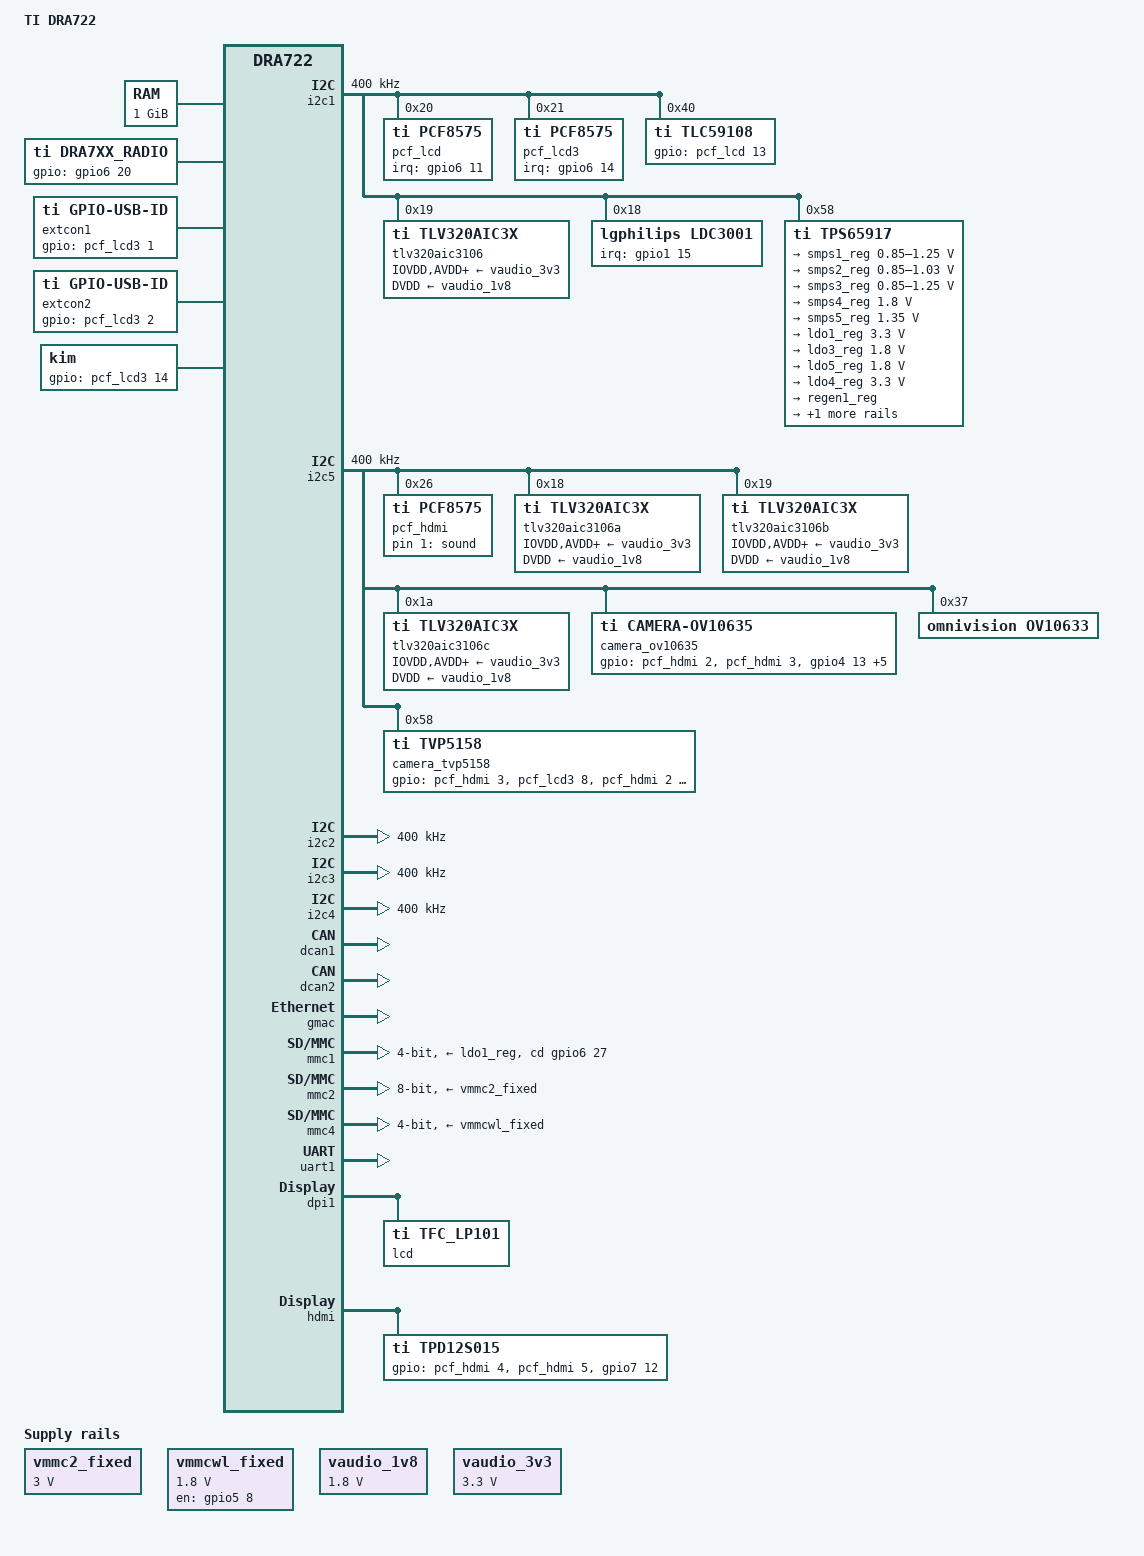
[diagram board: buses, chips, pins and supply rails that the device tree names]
/*
 * Copyright (C) 2014 Texas Instruments Incorporated - http://www.ti.com/
 *
 * This program is free software; you can redistribute it and/or modify
 * it under the terms of the GNU General Public License version 2 as
 * published by the Free Software Foundation.
 */
/dts-v1/;

/*
 * Following are the carveout addresses and the sizes for ION. SMC is not reserved for now
 * C0000000 - SDRAM+1G
 * BFD00000 - SMC (3MB)
 * BA300000 - ION (90MB)
 * B4300000 - TILER SECURE (81 MB)
 * B3400000 - TILER NONSECURE (15 MB)
*/

/memreserve/ 0xba300000 0x5a00000;
/memreserve/ 0xb5200000 0x5100000;
/memreserve/ 0xb4300000 0xf00000;

/*
 * Memory is reserved for ipu1 for rearview camera
 */

/memreserve/ 0x8E000000 0x1000000;
/memreserve/ 0xA0000000 0x1800000;

/include/ "dra72x.dtsi"

/ {
	model = "TI DRA722";
	compatible = "ti,dra72-evm", "ti,dra722", "ti,dra72", "ti,dra7";
	cpus {
		cpu@0 {
			cpu0-supply = <&abb_mpu>;
			operating-points = <
				/* kHz    uV */
				/* The OPP_HIGH Only for DVFS enabled Samples */
				/* OPP_OD need to be enabled only for Refreshed poly fixed Samples */
				/* dieID reg: 0x4AE0C20C FT_Rev bits[15:8] should be 5 or more to enable OPP_OD */
				1000000 1090000
				1176000 1210000
				1500000 1280000
				>;
			clocks = <&dpll_mpu_ck>;
			clock-names = "cpu";
			/*
			 * Transition latency reference from omap5.
			 * TBD: to be instrumented and use the actual
			 * value at later point of time
			 */
			clock-latency = <300000>;
			timer {
				compatible = "arm,armv7-timer";
				/*
				 * PPI secure/nonsecure IRQ,
				 * active low level-sensitive
				 */
				interrupts = <1 13 0x308>,
					   <1 14 0x308>;
				clock-frequency = <6144000>;
			};

		};
	};


	memory {
		device_type = "memory";
		reg = <0x80000000 0x40000000>; /* 1024 MB */
	};

	vmmc2_fixed: fixedregulator-mmc2 {
		compatible = "regulator-fixed";
		regulator-name = "vmmc2_fixed";
		regulator-min-microvolt = <3000000>;
		regulator-max-microvolt = <3000000>;
	};

	ion_config {
		compatible = "ti,ion-omap";
		ti,omap_ion_heap_secure_input_base = <0xba300000>;
		ti,omap_ion_heap_tiler_base = <0xb5200000>;
		ti,omap_ion_heap_nonsecure_tiler_base = <0xb4300000>;
		/*90 MB*/
		ti,omap_ion_heap_secure_input_size = <0x5A00000>;
		/*81MB*/
		ti,omap_ion_heap_tiler_size = <0x5100000>;
		/*15 MB*/
		ti,omap_ion_heap_nonsecure_tiler_size = <0xF00000>;
	};

	display_layout {
		compatible = "ti, omap4-dsscomp";
		ti,num_displays = <3>;
		ti,default_display = "lcd";
	};

	vmmcwl_fixed: fixedregulator-mmcwl {
		compatible = "regulator-fixed";
		regulator-name = "vmmcwl_fixed";
		regulator-min-microvolt = <1800000>;
		regulator-max-microvolt = <1800000>;
		gpio = <&gpio5 8 0>;	/* gpio5_8 */
		startup-delay-us = <70000>;
		enable-active-high;
	};

	wlcore {
		compatible = "wlcore";
		gpio = <135>;
	};

	vaudio_1v8: fixedregulator-vaudio-dig {
		compatible = "regulator-fixed";
		regulator-name = "vdac_fixed";
		regulator-min-microvolt = <1800000>;
		regulator-max-microvolt = <1800000>;
		regulator-boot-on;
	};

	vaudio_3v3: fixedregulator-vaudio-anlg {
		compatible = "regulator-fixed";
		regulator-name = "vdac_fixed";
		regulator-min-microvolt = <3300000>;
		regulator-max-microvolt = <3300000>;
		regulator-boot-on;
	};

	sound {
		compatible = "ti,dra7-evm-sound";
		ti,model = "dra7evm";
		ti,always-on;

		gpios = <&pcf_hdmi 1 0>;

		/* Audio routing */
		ti,audio-routing =
			"LINE1L", "Line In",
			"LINE1R", "Line In",
			"MIC3L", "Mic Bias 2V",
			"MIC3R", "Mic Bias 2V",
			"Mic Bias 2V", "Main Mic",
			"Headphone", "HPLOUT",
			"Headphone", "HPROUT",
			"Line Out", "LLOUT",
			"Line Out", "RLOUT",
			"J3A LINE1L", "JAMR3 Stereo Aux In",
			"J3A LINE1R", "JAMR3 Stereo Aux In",
			"J3B LINE1L", "JAMR3 Mono Mic 1",
			"J3B LINE1R", "JAMR3 Mono Mic 2",
			"JAMR3 Line Out 1", "J3A LLOUT",
			"JAMR3 Line Out 1", "J3A RLOUT",
			"JAMR3 Line Out 2", "J3B LLOUT",
			"JAMR3 Line Out 2", "J3B RLOUT",
			"JAMR3 Line Out 3", "J3C LLOUT",
			"JAMR3 Line Out 3", "J3C RLOUT";

		/* Media DAI link */
		ti,media-cpu = <&mcasp3>;
		ti,media-codec = <&tlv320aic3106>;
		ti,media-mclk-freq = <11289600>;
		ti,media-slots = <2>;

		/* Multichannel DAI link */
		ti,multichannel-cpu = <&mcasp6>;
		ti,multichannel-codec-a = <&tlv320aic3106a>;
		ti,multichannel-codec-b = <&tlv320aic3106b>;
		ti,multichannel-codec-c = <&tlv320aic3106c>;
		ti,multichannel-slots = <8>;
		ti,multichannel-mclk-freq = <11289600>;
		ti,multichannel-shared;

		/* Bluetooth */
		ti,bt-cpu = <&mcasp7>;
		ti,bt-bclk-freq = <512000>;
	};

	radio {
		compatible = "ti,dra7xx_radio";
		gpios = <&gpio6 20 0>;

		radio_helper1 {
			compatible = "ti,dra7xx_radio_subdev";
			ti,hwmods = "mcasp2";
			status = "okay";
		};
	};

	sound_hdmi {
		compatible = "ti,omap-hdmi-tpd12s015-audio";
		ti,model = "OMAP5HDMI";
		ti,hdmi_audio = <&hdmi>;
		ti,level_shifter = <&tpd12s015>;
	};

	extcon1: gpio_usbvid_extcon1 {
		compatible = "ti,gpio-usb-id";
		gpios = <&pcf_lcd3 1 0>;
		interrupt_mode = <0>;
		dr_mode = "peripheral";
	};

	extcon2: gpio_usbvid_extcon2 {
		compatible = "ti,gpio-usb-id";
		gpios = <&pcf_lcd3 2 0>;
		interrupt_mode = <0>;
		dr_mode = "host";
	};

	kim {
		compatible = "kim";
		nshutdown_gpio = <132>;
		dev_name = "/dev/ttyO2";
		flow_cntrl = <1>;
		baud_rate = <3686400>;
		gpios = <&pcf_lcd3 14 0>; /* pcf8575@21 P16 */
	};

	btwilink {
		compatible = "btwilink";
	};

};


&dra7_pmx_core {
        pinctrl-names = "default";
        pinctrl-0 = <
		&atl_pins
		&mcasp3_pins
		&mcasp6_pins
		&mcasp7_pins
		&vout1_pins
		&usb_pins
		&wl_pins
		&wlirq_pins
		&bt_uart3_pins
		&radio_pins
	>;

	i2c1_pins: pinmux_i2c1_pins {
		pinctrl-single,pins = <
			0x400 0x60000	/* i2c1_sda */
			0x404 0x60000	/* i2c1_scl */
		>;
	};

	i2c2_pins: pinmux_i2c2_pins {
                pinctrl-single,pins = <
			0x408	0x60001	/* hdmi_sda INPUT | MODE1 */
			0x40C	0x60001	/* hdmi_scl INPUT | MODE1 */
                >;
	};

	i2c3_pins: pinmux_i2c3_pins {
		pinctrl-single,pins = <
			0x410	0x60000	/* i2c3_sda INPUT | MODE0 */
			0x414	0x60000	/* i2c3_scl INPUT | MODE0 */
		>;
	};

	i2c5_pins: pinmux_i2c5_pins {
		pinctrl-single,pins = <
			0x2b4	0x6000a	/* i2c5_sda INPUT | MODE10 */
			0x2b8	0x6000a	/* i2c5_scl INPUT | MODE10 */
		>;
	};

	usb_pins: pinmux_usb_pins {
                pinctrl-single,pins = <
			0x280	0xc0000	/* DRV1_VBUS SLEW | PULLDEN | MODE14 */
			0x284	0xc0000	/* DRV2_VBUS SLEW | PULLDEN | MODE14 */
                >;
        };

	wl_pins: pinmux_wl_pins {
		pinctrl-single,pins = <
			0x3e8 0x60003   /* MMC4_CLK: INPUTENABLE | PULLUP | MODE3 */
			0x3ec 0x60003   /* MMC4_CMD: INPUTENABLE | PULLUP | MODE3 */
			0x3f0 0x60003   /* MMC4_DAT0: INPUTENABLE | PULLUP | MODE3 */
			0x3f4 0x60003   /* MMC4_DAT1: INPUTENABLE | PULLUP | MODE3 */
			0x3f8 0x60003   /* MMC4_DAT2: INPUTENABLE | PULLUP | MODE3 */
			0x3fc 0x60003   /* MMC4_DAT3: INPUTENABLE | PULLUP | MODE3 */
			0x2cc 0x2000E   /* WLAN_EN: OUTPUT | MODE14 */
		>;
	};

	wlirq_pins: pinmux_wlirq_pins {
		pinctrl-single,pins = <
			0x2c8 0x106000E /* WLAN_IRQ: INPUT | WAKEUP_ENABLE | MODE 14 */
		>;
	};

	bt_uart3_pins: pinmux_bt_uart3_pins {
		pinctrl-single,pins = <
			0x3c0 0x60001       /* uart3_rx.spi2_sclk:  INPUT | PULLUP | MODE 1 */
			0x3c4 0x1           /* uart3_tx.spi2.d1:    OUTPUT |  MODE 1 */
			0x3c8 0x40001       /* uart3_rts.spi2.c0:   OUTPUT | PULLUP | MODE 1 */
			0x3cc 0x60001       /* uart3_cts.spi2.d0:   INPUT | MODE 1 */
			0x2bc 0xE           /* BT_EN.gp5_4:         OUTPUT | MODE 14 */
		>;
	};

	dcan1_pins: pinmux_dcan1_pins {
		pinctrl-single,pins = <
			0x3d0	0x00000000	/* DCAN1_TX: MODE0 */
			0x418	0x00000001	/* WAKEUP0: MODE1 */
		>;
	};

	dcan2_pins: pinmux_dcan2_pins {
		pinctrl-single,pins = <
			0x288	0x00000002	/* DCAN2_TX: MODE2 */
			0x28C	0x00060002	/* DCAN2_RX: MODE2 | INPUTENABLE | PULLUP */
		>;
	};

	radio_pins: pinmux_radio_pins {
		pinctrl-single,pins = <
			0x02F4   0x40000        /* MCASP2_ACLKX: MODE0 */
			0x02F8   0xc0000        /* MCASP2_AFSX: MODE0 */
			0x0304   0x40000        /* MCASP2_AXR0: MODE0 */
			0x0308   0x40000        /* MCASP2_AXR1: MODE0 */
			0x030C   0xc0000        /* MCASP2_AXR2: MODE0 */
			0x0310   0xc0000        /* MCASP2_AXR3: MODE0 */
			0x0314   0x40000        /* MCASP2_AXR4: MODE0 */
			0x0318   0x40000        /* MCASP2_AXR5: MODE0 */
			0x031c   0x40000        /* MCASP2_AXR6: MODE0 */
			0x0320   0x40000        /* MCASP2_AXR7: MODE0 */
			0x0334   0x70004        /* I2C4_SDA: MODE4 */
			0x0338   0x70004        /* I2C4_SCL: MODE4 */
			0x02A0   0x5000e        /* GPIO6_20: MODE14 */
		>;
	};

	vout1_pins: pinmux_vout1_pins {
		pinctrl-single,pins = <
			0x1C8	0x0	/* vout1_clk OUTPUT | MODE0 */
			0x1CC	0x0	/* vout1_de OUTPUT | MODE0 */
			0x1D0	0x0	/* vout1_fld OUTPUT | MODE0 */
			0x1D4	0x0	/* vout1_hsync OUTPUT | MODE0 */
			0x1D8	0x0	/* vout1_vsync OUTPUT | MODE0 */
			0x1DC	0x0	/* vout1_d0 OUTPUT | MODE0 */
			0x1E0	0x0	/* vout1_d1 OUTPUT | MODE0 */
			0x1E4	0x0	/* vout1_d2 OUTPUT | MODE0 */
			0x1E8	0x0	/* vout1_d3 OUTPUT | MODE0 */
			0x1EC	0x0	/* vout1_d4 OUTPUT | MODE0 */
			0x1F0	0x0	/* vout1_d5 OUTPUT | MODE0 */
			0x1F4	0x0	/* vout1_d6 OUTPUT | MODE0 */
			0x1F8	0x0	/* vout1_d7 OUTPUT | MODE0 */
			0x1FC	0x0	/* vout1_d8 OUTPUT | MODE0 */
			0x200	0x0	/* vout1_d9 OUTPUT | MODE0 */
			0x204	0x0	/* vout1_d10 OUTPUT | MODE0 */
			0x208	0x0	/* vout1_d11 OUTPUT | MODE0 */
			0x20C	0x0	/* vout1_d12 OUTPUT | MODE0 */
			0x210	0x0	/* vout1_d13 OUTPUT | MODE0 */
			0x214	0x0	/* vout1_d14 OUTPUT | MODE0 */
			0x218	0x0	/* vout1_d15 OUTPUT | MODE0 */
			0x21C	0x0	/* vout1_d16 OUTPUT | MODE0 */
			0x220	0x0	/* vout1_d17 OUTPUT | MODE0 */
			0x224	0x0	/* vout1_d18 OUTPUT | MODE0 */
			0x228	0x0	/* vout1_d19 OUTPUT | MODE0 */
			0x22C	0x0	/* vout1_d20 OUTPUT | MODE0 */
			0x230	0x0	/* vout1_d21 OUTPUT | MODE0 */
			0x234	0x0	/* vout1_d22 OUTPUT | MODE0 */
			0x238	0x0	/* vout1_d23 OUTPUT | MODE0 */
		>;
	};

	atl_pins: pinmux_atl_pins {
		pinctrl-single,pins = <
			0x298 0x00000005	/* xref_clk1.atl_clk1 OUTPUT | MODE5 */
			0x29c 0x00000005	/* xref_clk2.atl_clk2 OUTPUT | MODE5 */
		>;
	};

	vin1a_pins: pinmux_vin1a_pins {
		pinctrl-single,pins = <
			0x0DC	0x00040000 /* vin1a_clk0 OUTPUT | MODE0 */
			0x0E4	0x00040000 /* vin1a_de0 OUTPUT | MODE0 */
			0x0E8	0x00040000 /* vin1a_fld0 OUTPUT | MODE0 */
			0x0EC	0x00040000 /* vin1a_hsync0	OUTPUT | MODE0 */
			0x0F0	0x00040000 /* vin1a_vsync0 OUTPUT | MODE0 */
			0x0F4	0x00040000 /* vin1a_d0	OUTPUT | MODE0 */
			0x0F8	0x00040000 /* vin1a_d1	OUTPUT | MODE0 */
			0x0FC	0x00040000 /* vin1a_d2	OUTPUT | MODE0 */
			0x100	0x00040000 /* vin1a_d3 	OUTPUT | MODE0 */
			0x104	0x00040000 /* vin1a_d4 	OUTPUT | MODE0 */
			0x108	0x00040000 /* vin1a_d5	OUTPUT | MODE0 */
			0x10C	0x00040000 /* vin1a_d6	OUTPUT | MODE0 */
			0x110	0x00040000 /* vin1a_d7	OUTPUT | MODE0 */
			0x114	0x00040000 /* vin1a_d8	OUTPUT | MODE0 */
			0x118	0x00040000 /* vin1a_d9	OUTPUT | MODE0 */
			0x11C	0x00040000 /* vin1a_d10	OUTPUT | MODE0 */
			0x120	0x00040000 /* vin1a_d11	OUTPUT | MODE0 */
			0x124	0x00040000 /* vin1a_d12	OUTPUT | MODE0 */
			0x128	0x00040000 /* vin1a_d13	OUTPUT | MODE0 */
			0x12C	0x00040000 /* vin1a_d14	OUTPUT | MODE0 */
			0x130	0x00040000 /* vin1a_d15	OUTPUT | MODE0 */
			0x134	0x00040000 /* vin1a_d16	OUTPUT | MODE0 */
			0x138	0x00040000 /* vin1a_d17	OUTPUT | MODE0 */
			0x13C	0x00040000 /* vin1a_d18	OUTPUT | MODE0 */
			0x140	0x00040000 /* vin1a_d19	OUTPUT | MODE0 */
			0x144	0x00040000 /* vin1a_d20	OUTPUT | MODE0 */
			0x148	0x00040000 /* vin1a_d21	OUTPUT | MODE0 */
			0x14C	0x00040000 /* vin1a_d22	OUTPUT | MODE0 */
			0x150	0x00040000 /* vin1a_d23	OUTPUT | MODE0 */
		>;
	};

	vin2a_pins: pinmux_vin2a_pins {
		pinctrl-single,pins = <
			0x154	0x00040000 /* vin2a_clk0 OUTPUT | MODE0 */
			0x058	0x00040000 /* vin2a_de0 OUTPUT | MODE0 */
			0x05C	0x00040000 /* vin2a_fld0 OUTPUT | MODE0 */
			0x160	0x00040000 /* vin2a_hsync0 OUTPUT | MODE0 */
			0x164	0x00040000 /* vin2a_vsync0 OUTPUT | MODE0 */
			0x168	0x00040000 /* vin2a_d0	OUTPUT | MODE0 */
			0x16C	0x00040000 /* vin2a_d1	OUTPUT | MODE0 */
			0x170	0x00040000 /* vin2a_d2	OUTPUT | MODE0 */
			0x174	0x00040000 /* vin2a_d3	OUTPUT | MODE0 */
			0x178	0x00040000 /* vin2a_d4	OUTPUT | MODE0 */
			0x17C	0x00040000 /* vin2a_d5	OUTPUT | MODE0 */
			0x180	0x00040000 /* vin2a_d6	OUTPUT | MODE0 */
			0x184	0x00040000 /* vin2a_d7	OUTPUT | MODE0 */
			0x188	0x00040000 /* vin2a_d8	OUTPUT | MODE0 */
			0x18C	0x00040000 /* vin2a_d9	OUTPUT | MODE0 */
			0x190	0x00040000 /* vin2a_d10	OUTPUT | MODE0 */
			0x194	0x00040000 /* vin2a_d11	OUTPUT | MODE0 */
			0x198	0x00040000 /* vin2a_d12	OUTPUT | MODE0 */
			0x19C	0x00040000 /* vin2a_d13	OUTPUT | MODE0 */
			0x1A0	0x00040000 /* vin2a_d14	OUTPUT | MODE0 */
			0x1A4	0x00040000 /* vin2a_d15	OUTPUT | MODE0 */
			0x1A8	0x00040000 /* vin2a_d16	OUTPUT | MODE0 */
			0x1AC	0x00040000 /* vin2a_d17	OUTPUT | MODE0 */
			0x1B0	0x00040000 /* vin2a_d18	OUTPUT | MODE0 */
			0x1B4	0x00040000 /* vin2a_d19	OUTPUT | MODE0 */
			0x1B8	0x00040000 /* vin2a_d20	OUTPUT | MODE0 */
			0x1BC	0x00040000 /* vin2a_d21	OUTPUT | MODE0 */
			0x1C0	0x00040000 /* vin2a_d22	OUTPUT | MODE0 */
			0x1C4	0x00040000 /* vin2a_d23	OUTPUT | MODE0 */
		>;
	};

	cpsw_default_pins: pinmux_cpsw_default_pins {
		pinctrl-single,pins = <
			/* Slave 1 */
			0x250	0x0 /* rgmii1_tclk PIN_OUTPUT | MUX_MODE0 */
			0x254	0x0 /* rgmii1_tctl PIN_OUTPUT | MUX_MODE0 */
			0x258	0x0 /* rgmii1_td3 PIN_OUTPUT | MUX_MODE0 */
			0x25c	0x0 /* rgmii1_td2 PIN_OUTPUT | MUX_MODE0 */
			0x260	0x0 /* rgmii1_td1 PIN_OUTPUT | MUX_MODE0 */
			0x264	0x0 /* rgmii1_td0 PIN_OUTPUT | MUX_MODE0 */
			0x268	0x00040000 /* rgmii1_rclk PIN_INPUT | MUX_MODE0 */
			0x26c	0x00040000 /* rgmii1_rctl PIN_INPUT | MUX_MODE0 */
			0x270	0x00040000 /* rgmii1_rd3 PIN_INPUT | MUX_MODE0 */
			0x274	0x00040000 /* rgmii1_rd2 PIN_INPUT | MUX_MODE0 */
			0x278	0x00040000 /* rgmii1_rd1 PIN_INPUT | MUX_MODE0 */
			0x27c	0x00040000 /* rgmii1_rd0 PIN_INPUT | MUX_MODE0 */
		>;
	};

	davinci_mdio_default_pins: pinmux_davinci_mdio_default_pins {
		pinctrl-single,pins = <
			0x23C	0x30000 /* mdio_data PIN_OUTPUT_PULLUP | MUX_MODE0 */
			0x240	0x70000 /* mdio_clk PIN_INPUT_PULLUP | MUX_MODE0 */
		>;
	};

	mcasp3_pins: pinmux_mcasp3_pins {
		pinctrl-single,pins = <
			0x324 0x00000180	/* mcasp3_aclkx.mcasp3_aclkx OUTPUT | MODE0 */
			0x328 0x00000180	/* mcasp3_fsx.mcasp3_fsx OUTPUT | MODE0 */
			0x32c 0x00000180	/* mcasp3_axr0.mcasp3_axr0 OUTPUT | MODE0 */
			0x330 0x00040160	/* mcasp3_axr1.mcasp3_axr1 INPUT | MODE0 */
		>;
	};

	mcasp6_pins: pinmux_mcasp6_pins {
		pinctrl-single,pins = <
			0x2d4 0x000001a1	/* mcasp1_axr8.mcasp6_axr0 OUTPUT | MODE1 */
			0x2d8 0x000401a1	/* mcasp1_axr9.mcasp6_axr1 INPUT | MODE 1 */
			0x2dc 0x000001a1	/* mcasp1_axr10.mcasp6_clkx OUTPUT | MODE1 */
			0x2e0 0x000001a1	/* mcasp1_axr11.mcasp6_fsx OUTPUT | MODE1 */
		>;
	};

	mcasp7_pins: pinmux_mcasp7_pins {
		pinctrl-single,pins = <
			0x2e4 0x000401a1	/* mcasp1_axr12.mcasp7_axr0 INPUT | MODE 1 */
			0x2e8 0x000001a1	/* mcasp1_axr13.mcasp7_axr1 OUTPUT | MODE 1 */
			0x2ec 0x000401a1	/* mcasp1_axr14.mcasp7_clkx INPUT | MODE1 */
			0x2f0 0x000401a1	/* mcasp1_axr15.mcasp7_fsx INPUT | MODE1 */
		>;
	};

	mmc2_pins: pinmux_mmc2_pins {
		pinctrl-single,pins = <
			0x08c 0x000601a1	/* gpmc_a19.mmc2_dat4 INPUT | MODE1 */
			0x090 0x000601a1	/* gpmc_a20.mmc2_dat5 INPUT | MODE1 */
			0x094 0x000601a1	/* gpmc_a21.mmc2_dat6 INPUT | MODE1 */
			0x098 0x000601a1	/* gpmc_a22.mmc2_dat7 INPUT | MODE1 */
			0x09c 0x000601a1	/* gpmc_a23.mmc2_clk INPUT | MODE1 */
			0x0a0 0x000601a1	/* gpmc_a24.mmc2_dat0 INPUT | MODE1 */
			0x0a4 0x000601a1	/* gpmc_a25.mmc2_dat1 INPUT | MODE1 */
			0x0a8 0x000601a1	/* gpmc_a26.mmc2_dat2 INPUT | MODE1 */
			0x0ac 0x000601a1	/* gpmc_a27.mmc2_dat3 INPUT | MODE1 */
			0x0b0 0x000601a1	/* gpmc_cs1.mmc2_cmd INPUT | MODE1 */
		>;
	};
};

&i2c1 {
	status = "okay";
	pinctrl-names = "default";
	pinctrl-0 = <&i2c1_pins>;
	clock-frequency = <400000>;

	pcf_lcd: pcf8575@20 {
		compatible = "ti,pcf8575";
		reg = <0x20>;
		gpio-controller;
		#gpio-cells = <2>;
		/* HACK: Using n_latch in pcf8575 driver to "drive P10/11" to not hold ETH0/1 in reset */
		n_latch = <0xfcfe>;
		interrupt-parent = <&gpio6>;
		interrupts = <11 2>;
		interrupt-controller;
		#interrupt-cells = <2>;
	};

	pcf_lcd3: pcf8575@21 {
		compatible = "ti,pcf8575";
		reg = <0x21>;
		gpio-controller;
		#gpio-cells = <2>;
		n_latch = <0x1418>;
		interrupt-parent = <&gpio6>;
		interrupts = <14 2>;
		interrupt-controller;
		#interrupt-cells = <2>;
	};

	/* TLC chip for LCD panel power and backlight */
	tlc59108: tlc59108@40 {
		compatible = "ti,tlc59108";
		reg = <0x40>;
		gpios = <&pcf_lcd 13 0>; /* P15, CON_LCD_PWR_DN */
	};

	tlv320aic3106: tlv320aic3106@19 {
		compatible = "ti,tlv320aic3x";
		reg = <0x19>;
		adc-settle-ms = <40>;
		IOVDD-supply = <&vaudio_3v3>;
		DVDD-supply = <&vaudio_1v8>;
		AVDD-supply = <&vaudio_3v3>;
		DRVDD-supply = <&vaudio_3v3>;
	};

 	ldc3001:ldc3001@18 {
 		reg = <0x18>;
		interrupt-parent = <&gpio1>;
		interrupts = <15 1>;
 	};

	tps65917: tps65917@58 {
		compatible = "ti,tps65917";
		reg = <0x58>;
		interrupts = <0 7 0x0>; /* IRQ_SYS_1N */
		interrupt-parent = <&gic>;
		interrupt-controller;
		#interrupt-cells = <2>;

		tps65917_pmic {
			compatible = "ti,tps65917-pmic";

			regulators {
				smps1_reg: smps1 {
					/* VDD_MPU */
					regulator-name = "smps1";
					regulator-min-microvolt = <850000>;
					regulator-max-microvolt = <1250000>;
					regulator-always-on;
					regulator-boot-on;
				};

				smps2_reg: smps2 {
					/* VDD_CORE */
					regulator-name = "smps2";
					regulator-min-microvolt = <850000>;
					regulator-max-microvolt = <1030000>;
					regulator-always-on;
					regulator-boot-on;
				};

				smps3_reg: smps3 {
					/* VDD_GPU IVA DSPEVE */
					regulator-name = "smps3";
					regulator-min-microvolt = <850000>;
					regulator-max-microvolt = <1250000>;
					regulator-always-on;
					regulator-boot-on;
				};

				smps4_reg: smps4 {
					/* VDDS1V8 */
					regulator-name = "smps4";
					regulator-min-microvolt = <1800000>;
					regulator-max-microvolt = <1800000>;
					regulator-always-on;
					regulator-boot-on;
				};

				smps5_reg: smps5 {
					/* VDD_DDR */
						regulator-name = "smps5";
						regulator-min-microvolt = <1350000>;
						regulator-max-microvolt = <1350000>;
						regulator-always-on;
						regulator-boot-on;
				};

				ldo1_reg: ldo1 {
					/* LDO1_OUT --> SDIO  */
					regulator-name = "ldo1";
					regulator-min-microvolt = <3300000>;
					regulator-max-microvolt = <3300000>;
					regulator-boot-on;
				};

				ldo3_reg: ldo3 {
					/* VDDA_1V8_PHY */
					regulator-name = "ldo3";
					regulator-min-microvolt = <1800000>;
					regulator-max-microvolt = <1800000>;
					regulator-always-on;
					regulator-boot-on;
				};

				ldo5_reg: ldo5 {
					/* VDDA_1V8_PLL */
					regulator-name = "ldo5";
					regulator-min-microvolt = <1800000>;
					regulator-max-microvolt = <1800000>;
					regulator-always-on;
					regulator-boot-on;
				};

				ldo4_reg: ldo4 {
					/* VDDA_3V_USB: VDDA_USBHS33 */
					regulator-name = "ldo4";
					regulator-min-microvolt = <3300000>;
					regulator-max-microvolt = <3300000>;
					regulator-always-on;
					regulator-boot-on;
				};

				regen1_reg: regen1 {
					/* GPIO0-> 3V3 ON */
					regulator-name = "regen1";
					regulator-always-on;
					regulator-boot-on;
				};

				regen3_reg: regen3 {
					/* GPIO5-> DDR ON */
					regulator-name = "regen3";
					regulator-always-on;
					regulator-boot-on;
				};
			};
		};
	};
};

&i2c5 {
        pinctrl-names = "default";
        pinctrl-0 = <&i2c5_pins>;

	clock-frequency = <400000>;



	pcf_hdmi: pcf8575@26 {
		compatible = "ti,pcf8575";
		reg = <0x26>;
		gpio-controller;
		#gpio-cells = <2>;
		n_latch = <0xff7b>;
	};

	tlv320aic3106a: tlv320aic3106@18 {
		compatible = "ti,tlv320aic3x";
		reg = <0x18>;
		IOVDD-supply = <&vaudio_3v3>;
		DVDD-supply = <&vaudio_1v8>;
		AVDD-supply = <&vaudio_3v3>;
		DRVDD-supply = <&vaudio_3v3>;
	};

	tlv320aic3106b: tlv320aic3106@19 {
		compatible = "ti,tlv320aic3x";
		reg = <0x19>;
		IOVDD-supply = <&vaudio_3v3>;
		DVDD-supply = <&vaudio_1v8>;
		AVDD-supply = <&vaudio_3v3>;
		DRVDD-supply = <&vaudio_3v3>;
	};

	tlv320aic3106c: tlv320aic3106@1a {
		compatible = "ti,tlv320aic3x";
		reg = <0x1a>;
		IOVDD-supply = <&vaudio_3v3>;
		DVDD-supply = <&vaudio_1v8>;
		AVDD-supply = <&vaudio_3v3>;
		DRVDD-supply = <&vaudio_3v3>;
	};

	camera_ov10635: camera_ov10635 {
		compatible = "ti,camera-ov10635";
		gpios = <&pcf_hdmi 2 0>,
			<&pcf_hdmi 3 0>,
			<&gpio4 13 0>,
			<&gpio4 14 0>,
			<&gpio4 15 0>,
			<&gpio4 16 0>,
			<&gpio6 17 0>,
			<&pcf_hdmi 6 0>;
	};

	ov10633@37 {
		compatible = "omnivision,ov10633";
		reg = <0x37>;

		port {
			onboardLI: endpoint {
				hsync-active = <1>;
				vsync-active = <1>;
				pclk-sample = <1>;
			};
		};
	};

	camera_tvp5158: camera_tvp5158 {
		compatible = "ti,tvp5158";
		reg = <0x58>;
		gpios = <&pcf_hdmi 3 0>,
			<&pcf_lcd3 8 0>,
			<&pcf_hdmi 2 0>,
			<&pcf_hdmi 6 0>;
		port {
			tvp5158: endpoint {
			// No props incase of BT656
			};
		};
       };

};

&i2c2 {
	pinctrl-names = "default";
	pinctrl-0 = <&i2c2_pins>;
	clock-frequency = <400000>;
};

&i2c3 {
	clock-frequency = <400000>;
};

&i2c4 {
	clock-frequency = <400000>;
};

&i2c5 {
	clock-frequency = <400000>;
};

&dcan1 {
	pinctrl-names = "default";
	pinctrl-0 = <&dcan1_pins>;
	status = "okay";
};

&dcan2 {
	pinctrl-names = "default";
	pinctrl-0 = <&dcan2_pins>;
	status = "okay";
};


&vip1 {
	pinctrl-names = "default";
	pinctrl-0 = <&vin1a_pins &vin2a_pins>;

	vin2a: port@1A {
		#address-cells = <1>;
		#size-cells = <0>;
		reg = <1>;
	};
};

&vin2a {
	endpoint@0 {
		slave-mode;
		remote-endpoint = <&onboardLI>;
	};

	endpoint@1 {
		slave-mode;
		remote-endpoint = <&tvp5158>;
	};
};

&gmac {
	status="okay";
	pinctrl-names = "default";
	pinctrl-0 = <&cpsw_default_pins>;
};

&davinci_mdio {
	pinctrl-names = "default";
	pinctrl-0 = <&davinci_mdio_default_pins>;
};

&cpsw_emac0 {
	phy_id = <&davinci_mdio>, <3>;
};

&cpsw_emac1 {
	phy_id = <&davinci_mdio>, <2>;
};

&mmc1 {
	vmmc-supply = <&ldo1_reg>;
	bus-width = <4>;
	cd-gpios = <&gpio6 27 0>;
};

&mmc2 {
	vmmc-supply = <&vmmc2_fixed>;
	bus-width = <8>;
	max-frequency = <192000000>;
	ti,non-removable;
	pinctrl-names = "default";
	pinctrl-0 = <&mmc2_pins>;
};

&mmc3 {
	bus-width = <8>;
	ti,non-removable;
	status = "disabled";
};

&mmc4 {
	vmmc-supply = <&vmmcwl_fixed>;
	bus-width = <4>;
	cap-power-off-card;
	keep-power-in-suspend;
	ti,non-removable;
};

&uart1 {
	status = "okay";
};

&dpi1 {
	lcd {
		compatible = "ti,tfc_lp101";
		tlc = <&tlc59108>;
		data-lines = <24>;
	};
};

&ldc3001 {
	compatible = "lgphilips,ldc3001";
};

&hdmi {
	vdda_hdmi_dac-supply = <&ldo3_reg>;
	tpd12s015: tpd12s015 {
		compatible = "ti,tpd12s015";

		gpios = <&pcf_hdmi 4 0>,	/* pcf8575@22 P4, CT_CP_HDP */
			<&pcf_hdmi 5 0>,	/* pcf8575@22 P5, LS_OE */
			<&gpio7 12 0>;		/* gpio7_12/sp1_cs2, HPD */

		hdmi_ddc = <&i2c2>;

		hdmi-monitor {
			compatible = "ti,hdmi_panel";
		};
	};
};

&dss {
	vdda_video-supply = <&ldo3_reg>;
};

&avs_mpu {
	avs-supply = <&smps1_reg>;
};

&avs_core {
	avs-supply = <&smps2_reg>;
};

&avs_gpu {
	avs-supply = <&smps3_reg>;
};

&avs_dspeve {
	avs-supply = <&smps3_reg>;
};

&avs_iva {
	avs-supply = <&smps3_reg>;
};

